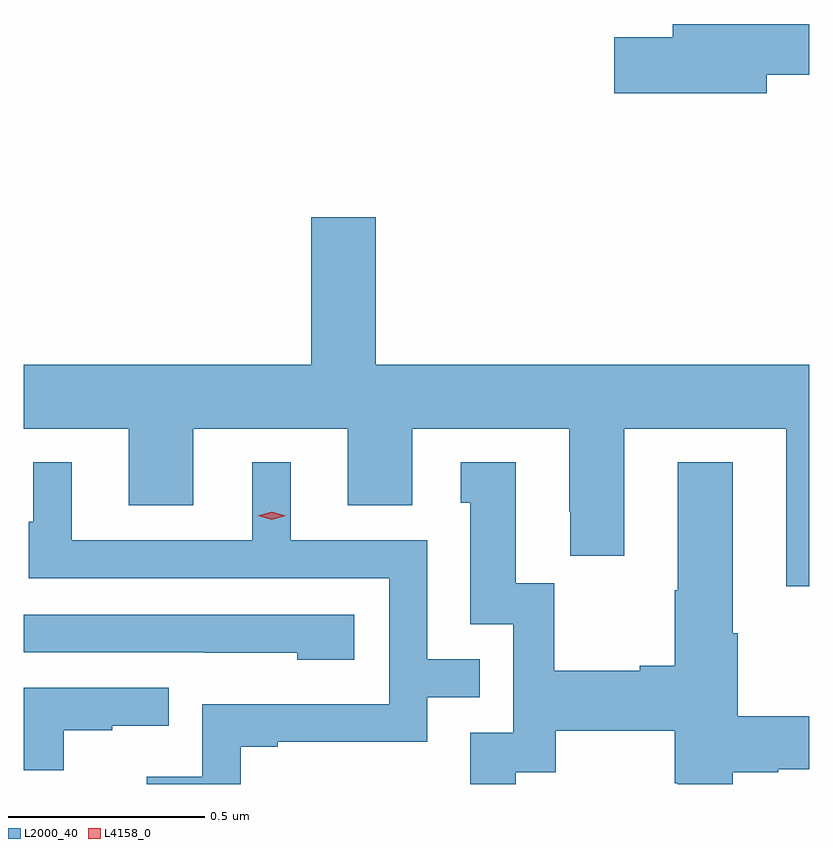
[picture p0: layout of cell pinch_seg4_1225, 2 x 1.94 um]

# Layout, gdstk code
import gdstk
lib = gdstk.Library(unit=1e-6, precision=1e-09)
def P(c, l, *ps):  # polygons
    for p in ps: c.add(gdstk.Polygon(p, *l))
L2000_40 = (2000, 40)
L4158_0 = (4158, 0)

pinch_seg4_1225 = lib.new_cell('pinch_seg4_1225')
P(pinch_seg4_1225, L2000_40, [(573.76,757.762),(573.868,757.762),(573.868,757.891),(573.521,757.891),(573.521,757.857),(573.372,757.857),(573.372,757.715),(573.76,757.715)],
  [(573.868,757.024),(572.764,757.024),(572.764,757.399),(572.6,757.399),(572.6,757.024),(571.868,757.024),(571.868,756.86),(572.135,756.86),(572.135,756.666),(572.299,756.666),(572.299,756.86),(572.693,756.86),(572.693,756.666),(572.857,756.666),(572.857,756.86),(573.257,756.86),(573.257,756.649),(573.26,756.649),(573.26,756.537),(573.397,756.537),(573.397,756.86),(573.809,756.86),(573.809,756.459),(573.868,756.459)],
  [(573.121,755.986),(573.223,755.986),(573.223,756.092),(573.526,756.092),(573.526,755.958),(573.533,755.958),(573.533,755.956),(573.673,755.956),(573.673,755.986),(573.789,755.986),(573.789,755.993),(573.868,755.993),(573.868,756.128),(573.686,756.128),(573.686,756.34),(573.673,756.34),(573.673,756.775),(573.533,756.775),(573.533,756.449),(573.526,756.449),(573.526,756.257),(573.437,756.257),(573.437,756.244),(573.219,756.244),(573.219,756.467),(573.121,756.467),(573.121,756.775),(572.981,756.775),(572.981,756.672),(573.005,756.672),(573.005,756.363),(573.114,756.363),(573.114,756.087),(573.005,756.087),(573.005,755.956),(573.121,755.956)],
  [(572.421,756.051),(572.515,756.051),(572.515,756.063),(572.895,756.063),(572.895,756.177),(573.029,756.177),(573.029,756.273),(572.895,756.273),(572.895,756.576),(572.548,756.576),(572.548,756.775),(572.45,756.775),(572.45,756.576),(571.99,756.576),(571.99,756.775),(571.892,756.775),(571.892,756.624),(571.881,756.624),(571.881,756.48),(572.799,756.48),(572.799,756.159),(572.322,756.159),(572.322,755.974),(572.181,755.974),(572.181,755.956),(572.421,755.956)],
  [(572.71,756.387),(571.868,756.387),(571.868,756.291),(572.329,756.291),(572.329,756.29),(572.565,756.29),(572.565,756.272),(572.71,756.272)],
  [(571.97,756.093),(572.093,756.093),(572.093,756.104),(572.237,756.104),(572.237,756.201),(571.868,756.201),(571.868,755.991),(571.97,755.991)])
P(pinch_seg4_1225, L4158_0, [(572.499,756.629),(572.464,756.639),(572.463,756.639),(572.464,756.639),(572.499,756.649),(572.535,756.639),(572.535,756.639),(572.535,756.639)])

lib.write_gds('pinch_seg4_1225.gds')
